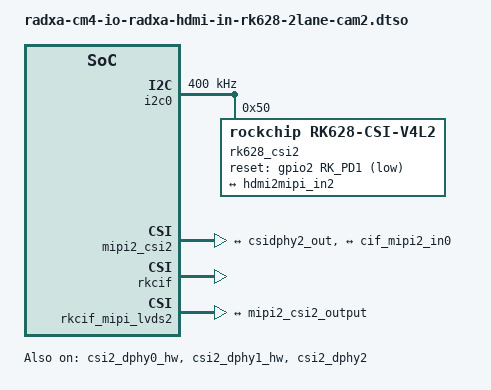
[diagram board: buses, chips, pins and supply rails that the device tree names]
/dts-v1/;
/plugin/;

#include <dt-bindings/gpio/gpio.h>
#include <dt-bindings/pinctrl/rockchip.h>
#include <dt-bindings/power/rockchip,rk3576-power.h>

/ {
	metadata {
		title = "Enable Radxa HDMI IN to MIPI CSI-2 Adapter on CAM2 2-lane CSI";
		compatible = "radxa,cm4-io";
		category = "camera";
		exclusive = "GPIO2_D1", "csi2_dphy2", "i2c0";
		description = "Enable Radxa HDMI IN to MIPI CSI-2 Adapter on the CAM2 2-lane CSI connector.
The 2-lane CSI connector does not support 4K input.
To capture audio, also enable the 'SAI2-M0 capture-only dummy sound card' overlay.
";
	};
};

&i2c0 {
	status = "okay";
	pinctrl-names = "default";
	pinctrl-0 = <&i2c0m1_xfer>;
	clock-frequency = <400000>;
	#address-cells = <1>;
	#size-cells = <0>;

	rk628_csi2: rk628-csi@50 {
		compatible = "rockchip,rk628-csi-v4l2";
		reg = <0x50>;
		power-domains = <&power RK3576_PD_VI>;
		pinctrl-names = "default";
		pinctrl-0 = <&rk628_cam2_reset>;
		/* The 15-pin connector carries RESET, but no INT or DET. */
		reset-gpios = <&gpio2 RK_PD1 GPIO_ACTIVE_LOW>;
		continues-clk = <1>;
		rockchip,camera-module-index = <1>;
		rockchip,camera-module-facing = "back";
		rockchip,camera-module-name = "HDMI-MIPI2";
		rockchip,camera-module-lens-name = "RK628-CSI";

		port {
			hdmiin_out2: endpoint {
				remote-endpoint = <&hdmi2mipi_in2>;
				data-lanes = <1 2>;
			};
		};
	};
};

&csi2_dphy0_hw {
	status = "okay";
};

&csi2_dphy1_hw {
	status = "okay";
};

&csi2_dphy2 {
	status = "okay";

	ports {
		#address-cells = <1>;
		#size-cells = <0>;

		port@0 {
			reg = <0>;
			#address-cells = <1>;
			#size-cells = <0>;

			hdmi2mipi_in2: endpoint@2 {
				reg = <2>;
				remote-endpoint = <&hdmiin_out2>;
				data-lanes = <1 2>;
			};
		};

		port@1 {
			reg = <1>;
			#address-cells = <1>;
			#size-cells = <0>;

			csidphy2_out: endpoint@0 {
				reg = <0>;
				remote-endpoint = <&mipi2_csi2_input>;
			};
		};
	};
};

&mipi2_csi2 {
	status = "okay";

	ports {
		#address-cells = <1>;
		#size-cells = <0>;

		port@0 {
			reg = <0>;
			#address-cells = <1>;
			#size-cells = <0>;

			mipi2_csi2_input: endpoint@1 {
				reg = <1>;
				remote-endpoint = <&csidphy2_out>;
			};
		};

		port@1 {
			reg = <1>;
			#address-cells = <1>;
			#size-cells = <0>;

			mipi2_csi2_output: endpoint@0 {
				reg = <0>;
				remote-endpoint = <&cif_mipi2_in0>;
			};
		};
	};
};

&rkcif {
	status = "okay";
};

&rkcif_mipi_lvds2 {
	status = "okay";

	port {
		cif_mipi2_in0: endpoint {
			remote-endpoint = <&mipi2_csi2_output>;
		};
	};
};

&rkcif_mmu {
	status = "okay";
};

&pinctrl {
	hdmiin-cam2 {
		rk628_cam2_reset: rk628-cam2-reset {
			rockchip,pins = <2 RK_PD1 RK_FUNC_GPIO &pcfg_pull_none>;
		};
	};
};
